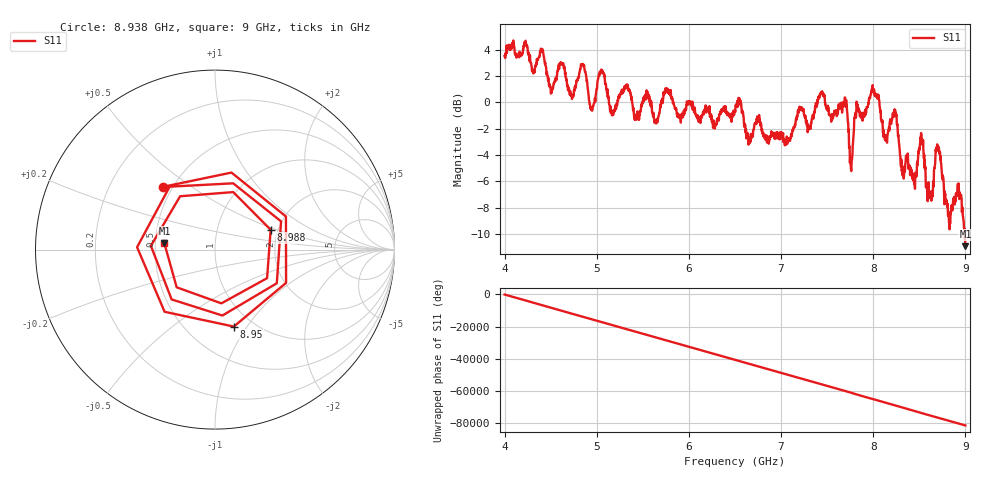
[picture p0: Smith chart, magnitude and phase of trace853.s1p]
! Created with skrf 1.8.0 (http://scikit-rf.org).
# Hz S RI R 50.0
!freq ReS11 ImS11
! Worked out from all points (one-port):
!   1601 points, 4 GHz to 9 GHz, reference 50 ohm
!   lowest |S11| = -10.9 dB at 9 GHz (marker M1), VSWR 1.79, Z = 27.9 + j2.12 ohm
!   |S11| at or under -10 dB: 8.99247 GHz to end of sweep
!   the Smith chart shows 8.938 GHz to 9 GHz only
!   S11 on the Smith chart (normalised r, x): 8.938 GHz: 0.44, +0.39; 8.95 GHz: 0.82, -0.87; 8.988 GHz: 1.83, +0.45; 9 GHz: 0.56, +0.04
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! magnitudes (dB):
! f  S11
! 4 GHz  3.5
! 4.403 GHz  4.0
! 4.506 GHz  0.9
! 4.625 GHz  2.9
! 4.725 GHz  0.5
! 4.853 GHz  2.9
! 4.944 GHz  -0.4
! 5.05 GHz  2.5
! 5.162 GHz  -0.6
! 5.25 GHz  0.6
! 5.875 GHz  -1.1
! 6.5 GHz  -0.6
! 7.125 GHz  -2.1
! 7.447 GHz  0.8
! 7.694 GHz  0.4
! 7.75 GHz  -4.2
! 7.819 GHz  0.1
! 7.997 GHz  0.9
! 8.375 GHz  -3.9
! 8.447 GHz  -5.9
! 8.522 GHz  -2.4
! 8.616 GHz  -7.1
! 8.7 GHz  -3.3
! 8.819 GHz  -8.5
! 8.938 GHz  -6.8
! 8.95 GHz  -7.1
! 8.988 GHz  -9.6
! 9 GHz  -10.9
